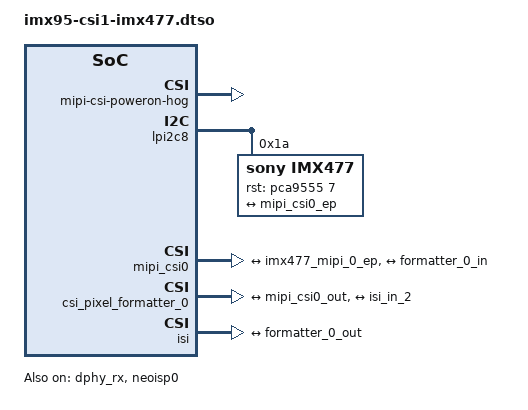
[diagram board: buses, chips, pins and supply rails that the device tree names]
// SPDX-License-Identifier: (GPL-2.0+ OR MIT)
/*
 * Copyright 2026 CompuLab LTD.
 */

/dts-v1/;
/plugin/;

#include <dt-bindings/gpio/gpio.h>
#include "../freescale/imx95-clock.h"
#include "../freescale/imx95-pinfunc.h"

&pca9555 {
    mipi-csi-poweron-hog {
        gpio-hog;
        gpios = <6 GPIO_ACTIVE_HIGH>;
        output-high;
        status = "okay";
    };
};

&lpi2c8 {

    #address-cells = <1>;
    #size-cells = <0>;
    status = "okay";

    imx477: imx477@1a {
        compatible = "sony,imx477";
        reg = <0x1a>;
        csi_id = <0>;
        rst-gpios = <&pca9555 7 GPIO_ACTIVE_HIGH>;

        orientation = <2>;
        rotation = <0>;
        status = "okay";

        //clock-names = "xclk";
        clocks = <&scmi_clk IMX95_CLK_LPI2C8>;

        port {
            imx477_mipi_0_ep: endpoint {
                remote-endpoint = <&mipi_csi0_ep>;
                data-lanes = <1 2>;
                clock-lanes = <0>;
                link-frequencies = /bits/ 64 <456000000>;
            };
        };
    };
};

&dphy_rx {
    status = "okay";
};

&mipi_csi0 { 
    status = "okay";

    ports {
        #address-cells = <1>;
        #size-cells = <0>;

        port@0 {
            reg = <0>;
            mipi_csi0_ep: endpoint {
                remote-endpoint = <&imx477_mipi_0_ep>;
                data-lanes = <1 2>;
                clock-lanes = <0>;
            };
        };
        port@1 {
            reg = <1>;
            mipi_csi0_out: endpoint {
                remote-endpoint = <&formatter_0_in>;
            };
        };
    };
};

&csi_pixel_formatter_0 {
    status = "okay";

    ports {
        #address-cells = <1>;
        #size-cells = <0>;

        port@0 {
            reg = <0>;

            formatter_0_in: endpoint {
                remote-endpoint = <&mipi_csi0_out>;
            };
        };

        port@1 {
            reg = <1>;

            formatter_0_out: endpoint {
                remote-endpoint = <&isi_in_2>;
            };
        };
    };
};

&isi {
    status = "okay";

    ports {
        #address-cells = <1>;
        #size-cells = <0>;

        port@2 {
            reg = <2>;

            isi_in_2: endpoint {
                remote-endpoint = <&formatter_0_out>;
            };
        };
    };
};

&neoisp0 {
    status = "okay";
};
